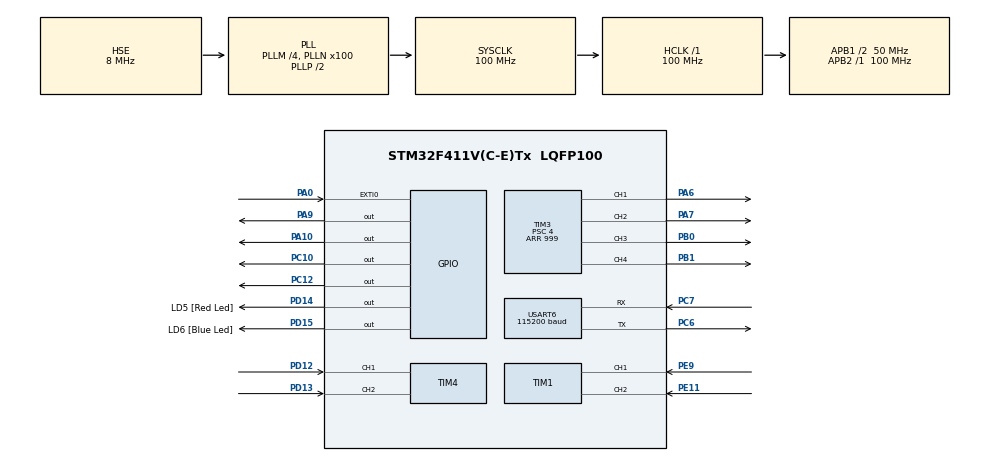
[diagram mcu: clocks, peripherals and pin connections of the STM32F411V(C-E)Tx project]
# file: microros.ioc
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Dma.Request0=USART6_RX
Dma.Request1=USART6_TX
Dma.USART6_RX.0.Direction=DMA_PERIPH_TO_MEMORY
Dma.USART6_RX.0.FIFOMode=DMA_FIFOMODE_DISABLE
Dma.USART6_RX.0.Instance=DMA2_Stream1
Dma.USART6_RX.0.MemDataAlignment=DMA_MDATAALIGN_BYTE
Dma.USART6_RX.0.MemInc=DMA_MINC_ENABLE
Dma.USART6_RX.0.Mode=DMA_CIRCULAR
Dma.USART6_RX.0.PeriphDataAlignment=DMA_PDATAALIGN_BYTE
Dma.USART6_RX.0.PeriphInc=DMA_PINC_DISABLE
Dma.USART6_RX.0.Priority=DMA_PRIORITY_VERY_HIGH
Dma.USART6_TX.1.Direction=DMA_MEMORY_TO_PERIPH
Dma.USART6_TX.1.FIFOMode=DMA_FIFOMODE_DISABLE
Dma.USART6_TX.1.Instance=DMA2_Stream6
Dma.USART6_TX.1.MemDataAlignment=DMA_MDATAALIGN_BYTE
Dma.USART6_TX.1.MemInc=DMA_MINC_ENABLE
Dma.USART6_TX.1.Mode=DMA_NORMAL
Dma.USART6_TX.1.PeriphDataAlignment=DMA_PDATAALIGN_BYTE
Dma.USART6_TX.1.PeriphInc=DMA_PINC_DISABLE
Dma.USART6_TX.1.Priority=DMA_PRIORITY_VERY_HIGH
FREERTOS.Tasks01=defaultTask,24,4000,StartDefaultTask,Default,NULL,Dynamic,NULL,NULL;motorTask,40,1536,MotorTask,Default,NULL,Dynamic,NULL,NULL
FREERTOS.configTOTAL_HEAP_SIZE=40*1024
Mcu.Family=STM32F4
Mcu.Name=STM32F411V(C-E)Tx
Mcu.Package=LQFP100
NVIC.DMA2_Stream1_IRQn=true\:5\:0\:true\:false\:true\:true\:false\:true\:true
NVIC.DMA2_Stream6_IRQn=true\:5\:0\:true\:false\:true\:true\:false\:true\:true
NVIC.PriorityGroup=NVIC_PRIORITYGROUP_4
NVIC.RCC_IRQn=true\:5\:0\:true\:false\:true\:true\:true\:false\:true
NVIC.TIM2_IRQn=true\:15\:0\:false\:false\:true\:false\:true\:true\:true
NVIC.TimeBase=TIM2_IRQn
NVIC.TimeBaseIP=TIM2
NVIC.USART6_IRQn=true\:5\:0\:true\:false\:true\:true\:true\:true\:true
PA0-WKUP.GPIO_ModeDefaultEXTI=GPIO_MODE_EVT_RISING
PA0-WKUP.Signal=GPXTI0
PA10.Signal=GPIO_Output
PA13.Mode=Serial_Wire
PA13.Signal=SYS_JTMS-SWDIO
PA14.Mode=Serial_Wire
PA14.Signal=SYS_JTCK-SWCLK
PA6.GPIO_Speed=GPIO_SPEED_FREQ_VERY_HIGH
PA6.Signal=S_TIM3_CH1
PA7.GPIO_Speed=GPIO_SPEED_FREQ_VERY_HIGH
PA7.Signal=S_TIM3_CH2
PA9.Signal=GPIO_Output
PB0.Signal=S_TIM3_CH3
PB1.Signal=S_TIM3_CH4
PC10.Signal=GPIO_Output
PC12.Signal=GPIO_Output
PC6.Mode=Asynchronous
PC6.Signal=USART6_TX
PC7.Mode=Asynchronous
PC7.Signal=USART6_RX
PD12.GPIO_Speed=GPIO_SPEED_FREQ_VERY_HIGH
PD12.Signal=S_TIM4_CH1
PD13.GPIO_Speed=GPIO_SPEED_FREQ_VERY_HIGH
PD13.Signal=S_TIM4_CH2
PD14.GPIO_Label=LD5 [Red Led]
PD14.GPIO_PuPd=GPIO_NOPULL
PD14.GPIO_Speed=GPIO_SPEED_FREQ_VERY_HIGH
PD14.Signal=GPIO_Output
PD15.GPIO_Label=LD6 [Blue Led]
PD15.GPIO_PuPd=GPIO_NOPULL
PD15.GPIO_Speed=GPIO_SPEED_FREQ_VERY_HIGH
PD15.Signal=GPIO_Output
PE11.GPIO_Speed=GPIO_SPEED_FREQ_VERY_HIGH
PE11.Signal=S_TIM1_CH2
PE9.GPIO_Speed=GPIO_SPEED_FREQ_VERY_HIGH
PE9.Signal=S_TIM1_CH1
PH0\ -\ OSC_IN.Mode=HSE-External-Oscillator
PH0\ -\ OSC_IN.Signal=RCC_OSC_IN
PH1\ -\ OSC_OUT.Mode=HSE-External-Oscillator
PH1\ -\ OSC_OUT.Signal=RCC_OSC_OUT
ProjectManager.HeapSize=0x200
ProjectManager.StackSize=0x400
ProjectManager.TargetToolchain=STM32CubeIDE
RCC.48MHZClocksFreq_Value=25000000
RCC.AHBFreq_Value=100000000
RCC.APB1CLKDivider=RCC_HCLK_DIV2
RCC.APB1Freq_Value=50000000
RCC.APB1TimFreq_Value=100000000
RCC.APB2Freq_Value=100000000
RCC.APB2TimFreq_Value=100000000
RCC.CortexFreq_Value=100000000
RCC.HCLKFreq_Value=100000000
RCC.HSE_VALUE=8000000
RCC.HSI_VALUE=16000000
RCC.LSE_VALUE=32768
RCC.PLLI2SM=5
RCC.PLLI2SN=200
RCC.PLLM=4
RCC.PLLN=100
RCC.PLLQ=8
RCC.PLLSourceVirtual=RCC_PLLSOURCE_HSE
RCC.SYSCLKFreq_VALUE=100000000
RCC.SYSCLKSource=RCC_SYSCLKSOURCE_PLLCLK
RCC.VCOOutputFreq_Value=200000000
SH.S_TIM1_CH1.0=TIM1_CH1,Encoder_Interface
SH.S_TIM1_CH2.0=TIM1_CH2,Encoder_Interface
SH.S_TIM3_CH1.0=TIM3_CH1,PWM Generation1 CH1
SH.S_TIM3_CH2.0=TIM3_CH2,PWM Generation2 CH2
SH.S_TIM3_CH3.0=TIM3_CH3,PWM Generation3 CH3
SH.S_TIM3_CH4.0=TIM3_CH4,PWM Generation4 CH4
SH.S_TIM4_CH1.0=TIM4_CH1,Encoder_Interface
SH.S_TIM4_CH2.0=TIM4_CH2,Encoder_Interface
TIM1.EncoderMode=TIM_ENCODERMODE_TI12
TIM3.Channel-PWM\ Generation1\ CH1=TIM_CHANNEL_1
TIM3.Channel-PWM\ Generation2\ CH2=TIM_CHANNEL_2
TIM3.Channel-PWM\ Generation3\ CH3=TIM_CHANNEL_3
TIM3.Channel-PWM\ Generation4\ CH4=TIM_CHANNEL_4
TIM3.Period=999
TIM3.Prescaler=4
TIM4.EncoderMode=TIM_ENCODERMODE_TI12
USART6.BaudRate=115200
USART6.VirtualMode=VM_ASYNC
VP_FREERTOS_VS_CMSIS_V2.Mode=CMSIS_V2
VP_SYS_VS_tim2.Mode=TIM2
board=STM32F411E-DISCO

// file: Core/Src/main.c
/* USER CODE BEGIN Header */
/**
  ******************************************************************************
  * @file           : main.c
  * @brief          : Main program body - Optimized for BTS7960 & micro-ROS (No IMU)
  ******************************************************************************
  */
/* USER CODE END Header */
#include "main.h"
#include "cmsis_os.h"

/* USER CODE BEGIN Includes */
#include "data_struct.h"
#include <geometry_msgs/msg/twist.h>
#include <math.h>
#include <stdbool.h>
#include <stdio.h>
#include <string.h>
#include <sys/time.h>
#include "FreeRTOS.h"
#include "task.h"
/* USER CODE END Includes */

TIM_HandleTypeDef htim1;
TIM_HandleTypeDef htim3;
TIM_HandleTypeDef htim4;

UART_HandleTypeDef huart6;
DMA_HandleTypeDef hdma_usart6_rx;
DMA_HandleTypeDef hdma_usart6_tx;

/* Definitions for defaultTask */
osThreadId_t defaultTaskHandle;
const osThreadAttr_t defaultTask_attributes = {
  .name = "defaultTask",
  .stack_size = 4000 * 4,
  .priority = (osPriority_t) osPriorityNormal,
};
/* Definitions for motorTask */
osThreadId_t motorTaskHandle;
const osThreadAttr_t motorTask_attributes = {
  .name = "motorTask",
  .stack_size = 1536 * 4,
  .priority = (osPriority_t) osPriorityHigh,
};
/* USER CODE BEGIN PV */

/* ---------- BIẾN MICRO-ROS ---------- */
rcl_publisher_t joint_pub;
sensor_msgs__msg__JointState joint_msg;
double pos_left = 0, pos_right = 0; // Đơn vị: Radian

rcl_subscription_t cmd_vel_sub;
geometry_msgs__msg__Twist cmd_vel_msg;
rclc_executor_t executor;

// Tên các khớp phải khớp 100% với file URDF của bạn (swapped order: Right, Left)
const char* joint_names[2] = {"left_wheel_joint", "right_wheel_joint"};

/* ---------- BIẾN ENCODER & KINEMATIC DECOUPLING PID ---------- */
float speed_left = 0, speed_right = 0;     // Vận tốc bánh xe (m/s)
float speed_v = 0, speed_w = 0;            // Vận tốc thực tế: v (m/s), ω (rad/s)
float setpoint_v = 0, setpoint_w = 0;      // Setpoint từ cmd_vel: v*, ω*

// Hệ số PID cho Vận tốc dài (Linear Velocity - v)
float Kp_v = 800.0f, Ki_v = 2800.0f, Kd_v = 0.0f;
float Error_v = 0, pre_Error_v = 0, pre_pre_Error_v = 0, u_v = 0, pre_u_v = 0;

// Hệ số PID cho Vận tốc góc (Angular Velocity - w)
float Kp_w = 400.0f, Ki_w = 1200.0f, Kd_w = 0.0f;
float Error_w = 0, pre_Error_w = 0, pre_pre_Error_w = 0, u_w = 0, pre_u_w = 0;

float duty_left = 0, duty_right = 0;      // Tín hiệu PWM ra motor

int32_t enc_left = 0, pre_enc_left = 0, delta_left = 0;
int32_t enc_right = 0, pre_enc_right = 0, delta_right = 0;

/* USER CODE END PV */

void SystemClock_Config(void);
static void MX_GPIO_Init(void);
static void MX_DMA_Init(void);
static void MX_TIM1_Init(void);
static void MX_TIM3_Init(void);
static void MX_TIM4_Init(void);
static void MX_USART6_UART_Init(void);
void StartDefaultTask(void *argument);
void MotorTask(void *argument);

/* USER CODE BEGIN PFP */
void Kinematic_PID_Calculate(void);
void PWM_Calculate1(void);
void PWM_Calculate2(void);

// Khai báo Transport cho micro-ROS để tránh warning implicitly
bool cubemx_transport_open(struct uxrCustomTransport * transport);
bool cubemx_transport_close(struct uxrCustomTransport * transport);
size_t cubemx_transport_write(struct uxrCustomTransport* transport, const uint8_t * buf, size_t len, uint8_t * err);
size_t cubemx_transport_read(struct uxrCustomTransport* transport, uint8_t* buf, size_t len, int timeout, uint8_t* err);

void * microros_allocate(size_t size, void * state);
void microros_deallocate(void * pointer, void * state);
void * microros_reallocate(void * pointer, size_t size, void * state);
void * microros_zero_allocate(size_t number_of_elements, size_t size_of_element, void * state);

int _gettimeofday(struct timeval *tv, void *tzvp)
{
    uint32_t tick = xTaskGetTickCount();
    tv->tv_sec = tick / 1000;
    tv->tv_usec = (tick % 1000) * 1000;
    return 0;
}

void cmd_vel_callback(const void *msgin)
{
    const geometry_msgs__msg__Twist *msg = (const geometry_msgs__msg__Twist *)msgin;

    float v = msg->linear.x;   // m/s
    float w = msg->angular.z;  // rad/s

    __disable_irq();
    setpoint_v = v;  // Gán trực tiếp vận tốc dài
    setpoint_w = -w;  // Gán trực tiếp vận tốc góc
    __enable_irq();
}
/* USER CODE END PFP */

int main(void)
{

  /* MCU Configuration--------------------------------------------------------*/

  /* Reset of all peripherals, Initializes the Flash interface and the Systick. */
  HAL_Init();

  /* Configure the system clock */
  SystemClock_Config();

  /* Initialize all configured peripherals */
  MX_GPIO_Init();
  MX_DMA_Init();
  MX_TIM1_Init();
  MX_TIM3_Init();
  MX_TIM4_Init();
  MX_USART6_UART_Init();
  /* USER CODE BEGIN 2 */
  // 1. Khởi động Encoder
  HAL_TIM_Encoder_Start(&htim1, TIM_CHANNEL_ALL); // Bánh trái
  HAL_TIM_Encoder_Start(&htim4, TIM_CHANNEL_ALL); // Bánh phải

  // 2. Khởi động PWM cho BTS7960
  HAL_TIM_PWM_Start(&htim3, TIM_CHANNEL_1); // Right RPWM
  HAL_TIM_PWM_Start(&htim3, TIM_CHANNEL_2); // Right LPWM
  HAL_TIM_PWM_Start(&htim3, TIM_CHANNEL_3); // Left RPWM
  HAL_TIM_PWM_Start(&htim3, TIM_CHANNEL_4); // Left LPWM

  // 3. Kích hoạt Driver BTS7960 (EN pins = HIGH)
  HAL_GPIO_WritePin(GPIOA, GPIO_PIN_9 | GPIO_PIN_10, GPIO_PIN_SET);
  HAL_GPIO_WritePin(GPIOC, GPIO_PIN_10 | GPIO_PIN_12, GPIO_PIN_SET);

  // 4. Reset biến đếm và PID (Kinematic Decoupling)
  __HAL_TIM_SET_COUNTER(&htim1, 0);
  __HAL_TIM_SET_COUNTER(&htim4, 0);

  	// Encoder counters
  	enc_right = 0; pre_enc_right = 0; delta_right = 0;
	enc_left = 0;  pre_enc_left = 0;  delta_left = 0;

	// Wheel speeds (feedback)
	speed_left = 0.0f; speed_right = 0.0f;

	// Robot center speeds (kinematic variables)
	speed_v = 0.0f; speed_w = 0.0f;

	// Setpoints from ROS 2
	setpoint_v = 0.0f; setpoint_w = 0.0f;

	// Linear velocity PID
	Error_v = 0; pre_Error_v = 0; pre_pre_Error_v = 0;
	u_v = 0; pre_u_v = 0;

	// Angular velocity PID
	Error_w = 0; pre_Error_w = 0; pre_pre_Error_w = 0;
	u_w = 0; pre_u_w = 0;

	// PWM outputs
	duty_left = 0.0f; duty_right = 0.0f;
  /* USER CODE END 2 */

  /* Init scheduler */
  osKernelInitialize();

  /* Create the thread(s) */
  /* creation of defaultTask */
  defaultTaskHandle = osThreadNew(StartDefaultTask, NULL, &defaultTask_attributes);

  /* creation of motorTask */
  motorTaskHandle = osThreadNew(MotorTask, NULL, &motorTask_attributes);

  /* Start scheduler */
  osKernelStart();

  /* We should never get here as control is now taken by the scheduler */

  /* Infinite loop */
  while (1)
  {

  }
}

void SystemClock_Config(void)
{
  RCC_OscInitTypeDef RCC_OscInitStruct = {0};
  RCC_ClkInitTypeDef RCC_ClkInitStruct = {0};

  /** Configure the main internal regulator output voltage
  */
  __HAL_RCC_PWR_CLK_ENABLE();
  __HAL_PWR_VOLTAGESCALING_CONFIG(PWR_REGULATOR_VOLTAGE_SCALE1);

  /** Initializes the RCC Oscillators according to the specified parameters
  * in the RCC_OscInitTypeDef structure.
  */
  RCC_OscInitStruct.OscillatorType = RCC_OSCILLATORTYPE_HSE;
  RCC_OscInitStruct.HSEState = RCC_HSE_ON;
  RCC_OscInitStruct.PLL.PLLState = RCC_PLL_ON;
  RCC_OscInitStruct.PLL.PLLSource = RCC_PLLSOURCE_HSE;
  RCC_OscInitStruct.PLL.PLLM = 4;
  RCC_OscInitStruct.PLL.PLLN = 100;
  RCC_OscInitStruct.PLL.PLLP = RCC_PLLP_DIV2;
  RCC_OscInitStruct.PLL.PLLQ = 8;
  if (HAL_RCC_OscConfig(&RCC_OscInitStruct) != HAL_OK)
  {
    Error_Handler();
  }

  /** Initializes the CPU, AHB and APB buses clocks
  */
  RCC_ClkInitStruct.ClockType = RCC_CLOCKTYPE_HCLK|RCC_CLOCKTYPE_SYSCLK
                              |RCC_CLOCKTYPE_PCLK1|RCC_CLOCKTYPE_PCLK2;
  RCC_ClkInitStruct.SYSCLKSource = RCC_SYSCLKSOURCE_PLLCLK;
  RCC_ClkInitStruct.AHBCLKDivider = RCC_SYSCLK_DIV1;
  RCC_ClkInitStruct.APB1CLKDivider = RCC_HCLK_DIV2;
  RCC_ClkInitStruct.APB2CLKDivider = RCC_HCLK_DIV1;

  if (HAL_RCC_ClockConfig(&RCC_ClkInitStruct, FLASH_LATENCY_3) != HAL_OK)
  {
    Error_Handler();
  }
}

static void MX_TIM1_Init(void)
{

  TIM_Encoder_InitTypeDef sConfig = {0};
  TIM_MasterConfigTypeDef sMasterConfig = {0};

  htim1.Instance = TIM1;
  htim1.Init.Prescaler = 0;
  htim1.Init.CounterMode = TIM_COUNTERMODE_UP;
  htim1.Init.Period = 65535;
  htim1.Init.ClockDivision = TIM_CLOCKDIVISION_DIV1;
  htim1.Init.RepetitionCounter = 0;
  htim1.Init.AutoReloadPreload = TIM_AUTORELOAD_PRELOAD_DISABLE;
  sConfig.EncoderMode = TIM_ENCODERMODE_TI12;
  sConfig.IC1Polarity = TIM_ICPOLARITY_RISING;
  sConfig.IC1Selection = TIM_ICSELECTION_DIRECTTI;
  sConfig.IC1Prescaler = TIM_ICPSC_DIV1;
  sConfig.IC1Filter = 0;
  sConfig.IC2Polarity = TIM_ICPOLARITY_RISING;
  sConfig.IC2Selection = TIM_ICSELECTION_DIRECTTI;
  sConfig.IC2Prescaler = TIM_ICPSC_DIV1;
  sConfig.IC2Filter = 0;
  if (HAL_TIM_Encoder_Init(&htim1, &sConfig) != HAL_OK)
  {
    Error_Handler();
  }
  sMasterConfig.MasterOutputTrigger = TIM_TRGO_RESET;
  sMasterConfig.MasterSlaveMode = TIM_MASTERSLAVEMODE_DISABLE;
  if (HAL_TIMEx_MasterConfigSynchronization(&htim1, &sMasterConfig) != HAL_OK)
  {
    Error_Handler();
  }

}

static void MX_TIM3_Init(void)
{

  TIM_MasterConfigTypeDef sMasterConfig = {0};
  TIM_OC_InitTypeDef sConfigOC = {0};

  htim3.Instance = TIM3;
  htim3.Init.Prescaler = 4;
  htim3.Init.CounterMode = TIM_COUNTERMODE_UP;
  htim3.Init.Period = 999;
  htim3.Init.ClockDivision = TIM_CLOCKDIVISION_DIV1;
  htim3.Init.AutoReloadPreload = TIM_AUTORELOAD_PRELOAD_DISABLE;
  if (HAL_TIM_PWM_Init(&htim3) != HAL_OK)
  {
    Error_Handler();
  }
  sMasterConfig.MasterOutputTrigger = TIM_TRGO_RESET;
  sMasterConfig.MasterSlaveMode = TIM_MASTERSLAVEMODE_DISABLE;
  if (HAL_TIMEx_MasterConfigSynchronization(&htim3, &sMasterConfig) != HAL_OK)
  {
    Error_Handler();
  }
  sConfigOC.OCMode = TIM_OCMODE_PWM1;
  sConfigOC.Pulse = 0;
  sConfigOC.OCPolarity = TIM_OCPOLARITY_HIGH;
  sConfigOC.OCFastMode = TIM_OCFAST_DISABLE;
  if (HAL_TIM_PWM_ConfigChannel(&htim3, &sConfigOC, TIM_CHANNEL_1) != HAL_OK)
  {
    Error_Handler();
  }
  if (HAL_TIM_PWM_ConfigChannel(&htim3, &sConfigOC, TIM_CHANNEL_2) != HAL_OK)
  {
    Error_Handler();
  }
  if (HAL_TIM_PWM_ConfigChannel(&htim3, &sConfigOC, TIM_CHANNEL_3) != HAL_OK)
  {
    Error_Handler();
  }
  if (HAL_TIM_PWM_ConfigChannel(&htim3, &sConfigOC, TIM_CHANNEL_4) != HAL_OK)
  {
    Error_Handler();
  }
  HAL_TIM_MspPostInit(&htim3);

}

static void MX_TIM4_Init(void)
{

  TIM_Encoder_InitTypeDef sConfig = {0};
  TIM_MasterConfigTypeDef sMasterConfig = {0};

  htim4.Instance = TIM4;
  htim4.Init.Prescaler = 0;
  htim4.Init.CounterMode = TIM_COUNTERMODE_UP;
  htim4.Init.Period = 65535;
  htim4.Init.ClockDivision = TIM_CLOCKDIVISION_DIV1;
  htim4.Init.AutoReloadPreload = TIM_AUTORELOAD_PRELOAD_DISABLE;
  sConfig.EncoderMode = TIM_ENCODERMODE_TI12;
  sConfig.IC1Polarity = TIM_ICPOLARITY_RISING;
  sConfig.IC1Selection = TIM_ICSELECTION_DIRECTTI;
  sConfig.IC1Prescaler = TIM_ICPSC_DIV1;
  sConfig.IC1Filter = 0;
  sConfig.IC2Polarity = TIM_ICPOLARITY_RISING;
  sConfig.IC2Selection = TIM_ICSELECTION_DIRECTTI;
  sConfig.IC2Prescaler = TIM_ICPSC_DIV1;
  sConfig.IC2Filter = 0;
  if (HAL_TIM_Encoder_Init(&htim4, &sConfig) != HAL_OK)
  {
    Error_Handler();
  }
  sMasterConfig.MasterOutputTrigger = TIM_TRGO_RESET;
  sMasterConfig.MasterSlaveMode = TIM_MASTERSLAVEMODE_DISABLE;
  if (HAL_TIMEx_MasterConfigSynchronization(&htim4, &sMasterConfig) != HAL_OK)
  {
    Error_Handler();
  }

}

static void MX_USART6_UART_Init(void)
{

  huart6.Instance = USART6;
  huart6.Init.BaudRate = 921600;
  huart6.Init.WordLength = UART_WORDLENGTH_8B;
  huart6.Init.StopBits = UART_STOPBITS_1;
  huart6.Init.Parity = UART_PARITY_NONE;
  huart6.Init.Mode = UART_MODE_TX_RX;
  huart6.Init.HwFlowCtl = UART_HWCONTROL_NONE;
  huart6.Init.OverSampling = UART_OVERSAMPLING_16;
  if (HAL_UART_Init(&huart6) != HAL_OK)
  {
    Error_Handler();
  }

}

static void MX_DMA_Init(void)
{

  /* DMA controller clock enable */
  __HAL_RCC_DMA2_CLK_ENABLE();

  /* DMA interrupt init */
  /* DMA2_Stream1_IRQn interrupt configuration */
  HAL_NVIC_SetPriority(DMA2_Stream1_IRQn, 5, 0);
  HAL_NVIC_EnableIRQ(DMA2_Stream1_IRQn);
  /* DMA2_Stream6_IRQn interrupt configuration */
  HAL_NVIC_SetPriority(DMA2_Stream6_IRQn, 5, 0);
  HAL_NVIC_EnableIRQ(DMA2_Stream6_IRQn);

}

static void MX_GPIO_Init(void)
{
  GPIO_InitTypeDef GPIO_InitStruct = {0};

  /* GPIO Ports Clock Enable */
  __HAL_RCC_GPIOH_CLK_ENABLE();
  __HAL_RCC_GPIOA_CLK_ENABLE();
  __HAL_RCC_GPIOB_CLK_ENABLE();
  __HAL_RCC_GPIOE_CLK_ENABLE();
  __HAL_RCC_GPIOD_CLK_ENABLE();
  __HAL_RCC_GPIOC_CLK_ENABLE();

  /*Configure GPIO pin Output Level */
  HAL_GPIO_WritePin(GPIOD, LD5_Pin|LD6_Pin, GPIO_PIN_RESET);

  /*Configure GPIO pin Output Level */
  HAL_GPIO_WritePin(GPIOA, GPIO_PIN_9|GPIO_PIN_10, GPIO_PIN_RESET);

  /*Configure GPIO pin Output Level */
  HAL_GPIO_WritePin(GPIOC, GPIO_PIN_10|GPIO_PIN_12, GPIO_PIN_RESET);

  /*Configure GPIO pin : PA0 */
  GPIO_InitStruct.Pin = GPIO_PIN_0;
  GPIO_InitStruct.Mode = GPIO_MODE_EVT_RISING;
  GPIO_InitStruct.Pull = GPIO_NOPULL;
  HAL_GPIO_Init(GPIOA, &GPIO_InitStruct);

  /*Configure GPIO pins : LD5_Pin LD6_Pin */
  GPIO_InitStruct.Pin = LD5_Pin|LD6_Pin;
  GPIO_InitStruct.Mode = GPIO_MODE_OUTPUT_PP;
  GPIO_InitStruct.Pull = GPIO_NOPULL;
  GPIO_InitStruct.Speed = GPIO_SPEED_FREQ_VERY_HIGH;
  HAL_GPIO_Init(GPIOD, &GPIO_InitStruct);

  /*Configure GPIO pins : PA9 PA10 */
  GPIO_InitStruct.Pin = GPIO_PIN_9|GPIO_PIN_10;
  GPIO_InitStruct.Mode = GPIO_MODE_OUTPUT_PP;
  GPIO_InitStruct.Pull = GPIO_NOPULL;
  GPIO_InitStruct.Speed = GPIO_SPEED_FREQ_LOW;
  HAL_GPIO_Init(GPIOA, &GPIO_InitStruct);

  /*Configure GPIO pins : PC10 PC12 */
  GPIO_InitStruct.Pin = GPIO_PIN_10|GPIO_PIN_12;
  GPIO_InitStruct.Mode = GPIO_MODE_OUTPUT_PP;
  GPIO_InitStruct.Pull = GPIO_NOPULL;
  GPIO_InitStruct.Speed = GPIO_SPEED_FREQ_LOW;
  HAL_GPIO_Init(GPIOC, &GPIO_InitStruct);

}

/* USER CODE BEGIN 4 */
/* --- KINEMATIC DECOUPLING PID & PWM FUNCTIONS --- */
/**
 * @brief Thuật toán điều khiển phân ly động học (Kinematic Decoupling Control)
 *        Với Dynamic Scaling & Anti-Windup
 *
 * Forward Kinematics:
 *   speed_v = (speed_left + speed_right) / 2
 *   speed_w = (speed_right - speed_left) / wheel_base
 *
 * Inverse Kinematics:
 *   duty_left  = u_v - u_w
 *   duty_right = u_v + u_w
 */
void Kinematic_PID_Calculate(void) {
	// ===== 1. ĐỌC CẢM BIẾN ENCODER (Incremental Encoder Decoding) =====
	enc_left = __HAL_TIM_GET_COUNTER(&htim1);
	delta_left = enc_left - pre_enc_left;
	if(delta_left > 40000) delta_left -= 65536;
	else if(delta_left < -40000) delta_left += 65536;
	speed_left = ((delta_left / PPR) / Ts) * (2.0f * M_PI * wheel_radius);
	pre_enc_left = enc_left;

	enc_right = __HAL_TIM_GET_COUNTER(&htim4);
	delta_right = enc_right - pre_enc_right;
	if(delta_right > 40000) delta_right -= 65536;
	else if(delta_right < -40000) delta_right += 65536;
	speed_right = ((delta_right / PPR) / Ts) * (2.0f * M_PI * wheel_radius);
	pre_enc_right = enc_right;

	// ===== 2. FORWARD KINEMATICS (Tính toán v & ω từ speed_left, speed_right) =====
	speed_v = (speed_left + speed_right) / 2.0f;           // Vận tốc dài (m/s)
	speed_w = (speed_right - speed_left) / wheel_base;     // Vận tốc góc (rad/s)

	// ===== 3. XỬ LÝ LỆNH DỪNG (Stop Command Handler) =====
	if (setpoint_v == 0.0f && setpoint_w == 0.0f) {
		u_v = 0; pre_u_v = 0; pre_Error_v = 0; pre_pre_Error_v = 0;
		u_w = 0; pre_u_w = 0; pre_Error_w = 0; pre_pre_Error_w = 0;
		duty_left = 0; duty_right = 0;
		return;
	}

	// ===== 4. TÍNH TOÁN PID RỜI RẠC CHO VẬN TỐC DÀI (Linear Velocity PID) =====
	Error_v = setpoint_v - speed_v;
	u_v = pre_u_v + Kp_v * (Error_v - pre_Error_v)
	            + Ki_v * Ts * Error_v
	            + (Kd_v / Ts) * (Error_v - 2.0f * pre_Error_v + pre_pre_Error_v);

	// ===== 5. TÍNH TOÁN PID RỜI RẠC CHO VẬN TỐC GÓC (Angular Velocity PID) =====
	Error_w = setpoint_w - speed_w;
	u_w = pre_u_w + Kp_w * (Error_w - pre_Error_w)
	           + Ki_w * Ts * Error_w
	           + (Kd_w / Ts) * (Error_w - 2.0f * pre_Error_w + pre_pre_Error_w);

	// ===== 6. INVERSE KINEMATICS + DYNAMIC SCALING (Anti-Saturation) =====
	// Quy ước ROS 2: +angular.z => rẽ trái => bánh phải nhanh hơn bánh trái
	// v_left  = v - (w * wheel_base / 2)
	// v_right = v + (w * wheel_base / 2)
	float angular_term = u_w * (wheel_base * 0.5f);
	float raw_duty_left  = u_v - angular_term;
	float raw_duty_right = u_v + angular_term;

	float max_pwm_limit = 699.0f;
	float max_requested = (fabsf(raw_duty_left) > fabsf(raw_duty_right))
	                      ? fabsf(raw_duty_left) : fabsf(raw_duty_right);

	if (max_requested > max_pwm_limit) {
		// Tính hệ số thu nhỏ để giữ tỷ lệ
		float scale_factor = max_pwm_limit / max_requested;

		// Thu nhỏ cả 2 bánh theo cùng tỷ lệ (bảo toàn quỹ đạo cong)
		duty_left  = raw_duty_left * scale_factor;
		duty_right = raw_duty_right * scale_factor;

		// Back-calculation Anti-Windup: Gắn lại u_v, u_w thực tế
		u_v = u_v * scale_factor;
		u_w = u_w * scale_factor;
	} else {
		duty_left  = raw_duty_left;
		duty_right = raw_duty_right;
	}

	// ===== 7. CẬP NHẬT BIẾN TRẠNG THÁI CHO CHU KỲ SAU =====
	pre_pre_Error_v = pre_Error_v;
	pre_Error_v = Error_v;
	pre_u_v = u_v;

	pre_pre_Error_w = pre_Error_w;
	pre_Error_w = Error_w;
	pre_u_w = u_w;
}

void PWM_Calculate1() { // Trái
	// Thêm deadzone: Nếu duty nhỏ hơn 1% (10/1000) thì ép về 0 để tránh chạy tự động
	if(fabsf(duty_left) < 10.0f){
		__HAL_TIM_SET_COMPARE(&htim3, TIM_CHANNEL_3, 0);
		__HAL_TIM_SET_COMPARE(&htim3, TIM_CHANNEL_4, 0);
	}else if(duty_left > 0){
		__HAL_TIM_SET_COMPARE(&htim3, TIM_CHANNEL_3, (uint32_t)duty_left);
		__HAL_TIM_SET_COMPARE(&htim3, TIM_CHANNEL_4, 0);
	}else{
		__HAL_TIM_SET_COMPARE(&htim3, TIM_CHANNEL_3, 0);
		__HAL_TIM_SET_COMPARE(&htim3, TIM_CHANNEL_4, (uint32_t)(-duty_left));
	}
}

void PWM_Calculate2() { // Phải
	// Thêm deadzone: Nếu duty nhỏ hơn 1% (10/1000) thì ép về 0 để tránh chạy tự động
	if(fabsf(duty_right) < 10.0f){
		__HAL_TIM_SET_COMPARE(&htim3, TIM_CHANNEL_1, 0);
		__HAL_TIM_SET_COMPARE(&htim3, TIM_CHANNEL_2, 0);
	}else if(duty_right > 0){
		__HAL_TIM_SET_COMPARE(&htim3, TIM_CHANNEL_1, (uint32_t)duty_right);
		__HAL_TIM_SET_COMPARE(&htim3, TIM_CHANNEL_2, 0);
	}else{
		__HAL_TIM_SET_COMPARE(&htim3, TIM_CHANNEL_1, 0);
		__HAL_TIM_SET_COMPARE(&htim3, TIM_CHANNEL_2, (uint32_t)(-duty_right));
	}
}
/* USER CODE END 4 */

void StartDefaultTask(void *argument)
{
  /* USER CODE BEGIN 5 */
	rmw_uros_set_custom_transport(true, (void *) &huart6, cubemx_transport_open, cubemx_transport_close, cubemx_transport_write, cubemx_transport_read);
	// Setup Allocators...
	rcl_allocator_t allocator = rcl_get_default_allocator();

	while(rmw_uros_ping_agent(1000, 1) != RMW_RET_OK) { osDelay(100); }

	rclc_support_t support;
	rcl_node_t node;

	// --- PHẦN KHỞI TẠO DOMAIN ID 36 ---
	rcl_init_options_t init_options = rcl_get_zero_initialized_init_options();
	rcl_init_options_init(&init_options, allocator);
	rcl_init_options_set_domain_id(&init_options, 36);

	rclc_support_init_with_options(&support, 0, NULL, &init_options, &allocator);
	rclc_node_init_default(&node, "stm32_node", "", &support);

	// 1. Init JointState Publisher
	rclc_publisher_init_default(&joint_pub, &node,
		ROSIDL_GET_MSG_TYPE_SUPPORT(sensor_msgs, msg, JointState), "joint_states");

	// 2. Init cmd_vel Subscription
	rclc_subscription_init_default(&cmd_vel_sub, &node,
		ROSIDL_GET_MSG_TYPE_SUPPORT(geometry_msgs, msg, Twist), "/diff_cont/cmd_vel_unstamped");

	// 2b. Debug publisher removed for performance optimization
	// (Loại bỏ để tối ưu hóa hiệu năng truyền dữ liệu UART/DMA)

	rclc_executor_init(&executor, &support.context, 1, &allocator);
	rclc_executor_add_subscription(&executor, &cmd_vel_sub, &cmd_vel_msg, &cmd_vel_callback, ON_NEW_DATA);

	// 3. Cấu hình bộ nhớ tĩnh cho JointState (Tránh lỗi Memory)
	joint_msg.header.frame_id.data = "base_link";
	joint_msg.name.data = (rosidl_runtime_c__String*) malloc(2 * sizeof(rosidl_runtime_c__String));
	joint_msg.name.size = 2;
	joint_msg.name.capacity = 2;
	for(int i=0; i<2; i++) {
		joint_msg.name.data[i].data = (char*)joint_names[i];
		joint_msg.name.data[i].size = strlen(joint_names[i]);
		joint_msg.name.data[i].capacity = joint_msg.name.data[i].size + 1;
	}
	joint_msg.position.data = (double*) malloc(2 * sizeof(double));
	joint_msg.position.size = 2;
	joint_msg.position.capacity = 2;
	joint_msg.velocity.data = (double*) malloc(2 * sizeof(double));
	joint_msg.velocity.size = 2;
	joint_msg.velocity.capacity = 2;

	rmw_uros_sync_session(1000);

	uint32_t sync_counter = 0;

	/* ========== PUBLISH RATE CONFIGURATION ==========
	 * 100Hz TUYỆT ĐỐI (ổn định nhất): Dùng osDelayUntil
	 * Loại bỏ jitter bằng cơ chế delay tuyệt đối thay vì tương đối
	 * ============================================= */

	// Khởi tạo biến thời gian cho osDelayUntil (absolute timing)
	uint32_t tick_start = osKernelGetTickCount();
	const uint32_t frequency_ms = 10;  // 10ms = 100Hz (chu kỳ chính xác)
	const float dt_100hz = 0.01f;      // Delta time = 0.01s

	while (1)
	{

		// --- Đồng bộ Clock với Master --- //
		sync_counter++;
		if(sync_counter >=5000){  // Sync mỗi ~50 giây ở 100Hz
			rmw_uros_sync_session(10);
			sync_counter = 0;
		}
		// --- TÍNH TOÁN ĐỘNG HỌC (KINEMATICS) ---
		// Vận tốc góc (rad/s) = vận tốc dài (m/s) / bán kính (m)
		double wl = (double)(speed_left / wheel_radius);
		double wr = (double)(speed_right / wheel_radius);

		// Tích phân vị trí (rad) = vị trí cũ + (vận tốc * dt)
		// dt_100hz = 0.01s chính xác cho 100Hz
		pos_left  += wl * dt_100hz;
		pos_right += wr * dt_100hz;

		// --- GÁN DỮ LIỆU (KHỚP CẶP RIGHT-RIGHT, LEFT-LEFT) ---
		int64_t time_ns = rmw_uros_epoch_nanos();
		joint_msg.header.stamp.sec = (int32_t)(time_ns / 1000000000);
		joint_msg.header.stamp.nanosec = (uint32_t)(time_ns % 1000000000);

		joint_msg.position.data[0] = pos_right;
		joint_msg.position.data[1] = pos_left;
		joint_msg.velocity.data[0] = wr;
		joint_msg.velocity.data[1] = wl;

		// --- PUBLISH JOINT STATE ---
		// Debug velocity publisher removed for performance optimization
		rcl_publish(&joint_pub, &joint_msg, NULL);
		rclc_executor_spin_some(&executor, RCL_MS_TO_NS(0));

		HAL_GPIO_TogglePin(GPIOD, GPIO_PIN_14);

		/* === PUBLISH RATE CONTROL (ABSOLUTE TIMING) ===
		 * osDelayUntil: Bù trừ thời gian xử lý code → 100% chính xác 100Hz
		 * Không phụ thuộc vào thời gian thực thi của micro-ROS operations
		 * Công thức: tick_start += frequency_ms; osDelayUntil(tick_start);
		 */
		tick_start += frequency_ms;  // Tăng tick_start lên 10ms
		osDelayUntil(tick_start);     // Delay cho đến tick_start
	}
  /* USER CODE END 5 */
}

void MotorTask(void *argument)
{
  /* USER CODE BEGIN MotorTask */
  /* Infinite loop - 100Hz Motor Control Loop */
  for(;;)
  {
	  // 1. Thuật toán điều khiển phân ly động học
	  //    Tính toán u_v, u_w và duty_left, duty_right với Dynamic Scaling
	  Kinematic_PID_Calculate();

	  // 2. Xuất PWM ra Driver BTS7960
	  PWM_Calculate1();
	  PWM_Calculate2();

	  // Đảm bảo chạy chính xác ở 100Hz
	  osDelay(10);
  }
  /* USER CODE END MotorTask */
}

void HAL_TIM_PeriodElapsedCallback(TIM_HandleTypeDef *htim)
{
  if (htim->Instance == TIM2)
  {
    HAL_IncTick();
  }
}

void Error_Handler(void)
{
  __disable_irq();
  while (1)
  {
  }
}
